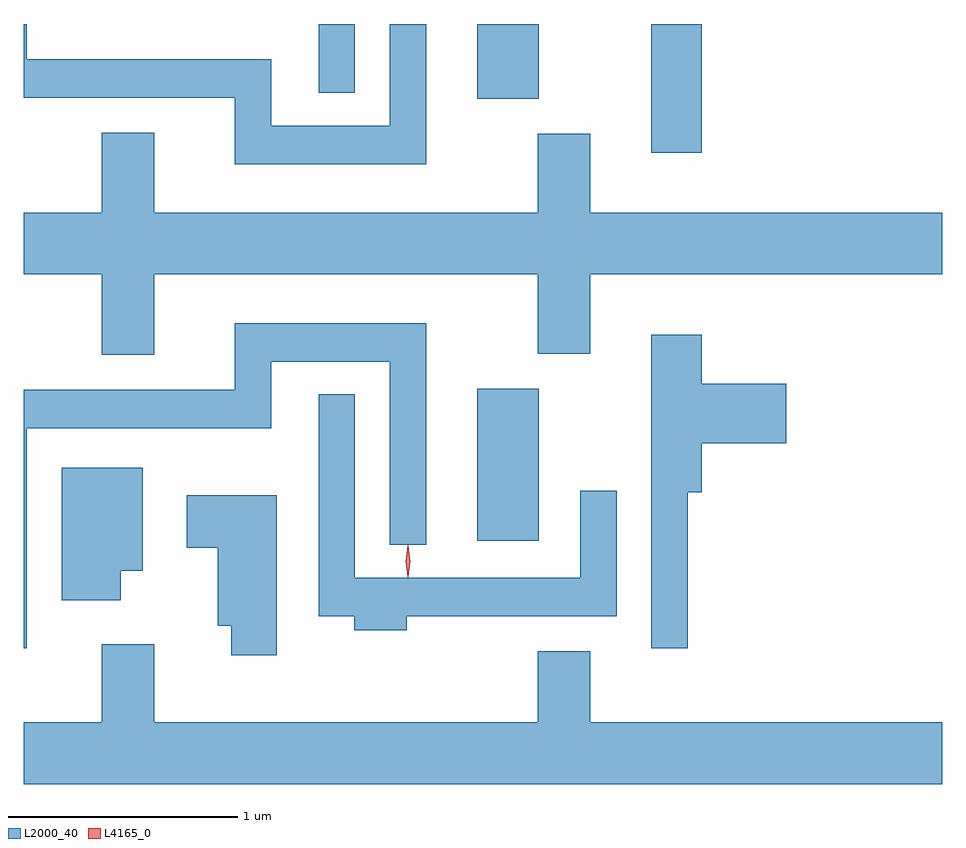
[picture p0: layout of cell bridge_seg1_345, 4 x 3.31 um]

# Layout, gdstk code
import gdstk
lib = gdstk.Library(unit=1e-6, precision=1e-09)
def R(c, l, rs):  # rectangles x0, y0, x1, y1
    for r in rs: c.add(gdstk.rectangle(r[:2], r[2:], *l))
def P(c, l, *ps):  # polygons
    for p in ps: c.add(gdstk.Polygon(p, *l))
L2000_40 = (2000, 40)
L4165_0 = (4165, 0)

bridge_seg1_345 = lib.new_cell('bridge_seg1_345')
R(bridge_seg1_345, L2000_40, [(943.046,873.996,943.314,874.659), (943.806,875.686,944.024,876.247), (943.046,875.921,943.314,876.247), (942.356,875.948,942.514,876.247)])
P(bridge_seg1_345, L2000_40, [(942.824,876.247),(942.666,876.247),(942.666,875.804),(942.149,875.804),(942.149,876.094),(941.084,876.094),(941.084,876.247),(941.072,876.247),(941.072,875.926),(941.991,875.926),(941.991,875.636),(942.824,875.636)],
  [(941.639,875.156),(943.311,875.156),(943.311,874.811),(943.539,874.811),(943.539,875.156),(945.072,875.156),(945.072,875.424),(943.539,875.424),(943.539,875.769),(943.311,875.769),(943.311,875.424),(941.639,875.424),(941.639,875.774),(941.411,875.774),(941.411,875.424),(941.072,875.424),(941.072,875.156),(941.411,875.156),(941.411,874.806),(941.639,874.806)],
  [(941.084,874.486),(942.149,874.486),(942.149,874.776),(942.666,874.776),(942.666,873.978),(942.824,873.978),(942.824,874.944),(941.991,874.944),(941.991,874.654),(941.072,874.654),(941.072,873.528),(941.084,873.528)],
  [(943.964,874.206),(944.024,874.206),(944.024,874.421),(944.394,874.421),(944.394,874.679),(944.024,874.679),(944.024,874.894),(943.806,874.894),(943.806,873.528),(943.964,873.528)],
  [(942.739,873.666),(943.654,873.666),(943.654,874.213),(943.496,874.213),(943.496,873.834),(942.514,873.834),(942.514,874.633),(942.356,874.633),(942.356,873.666),(942.511,873.666),(942.511,873.606),(942.739,873.606)],
  [(941.494,873.866),(941.589,873.866),(941.589,874.314),(941.236,874.314),(941.236,873.736),(941.494,873.736)],
  [(942.174,874.194),(941.781,874.194),(941.781,873.966),(941.916,873.966),(941.916,873.626),(941.976,873.626),(941.976,873.496),(942.174,873.496)],
  [(945.072,873.204),(943.539,873.204),(943.539,873.514),(943.311,873.514),(943.311,873.204),(941.639,873.204),(941.639,873.544),(941.411,873.544),(941.411,873.204),(941.072,873.204),(941.072,872.936),(945.072,872.936)])
P(bridge_seg1_345, L4165_0, [(942.746,873.84),(942.746,873.84),(942.736,873.906),(942.746,873.972),(942.746,873.973),(942.747,873.972),(942.756,873.906),(942.747,873.84)],
  [(942.745,873.837),(942.745,873.837),(942.735,873.907),(942.745,873.976),(942.745,873.976),(942.746,873.976),(942.755,873.907),(942.746,873.837)])

lib.write_gds('bridge_seg1_345.gds')
